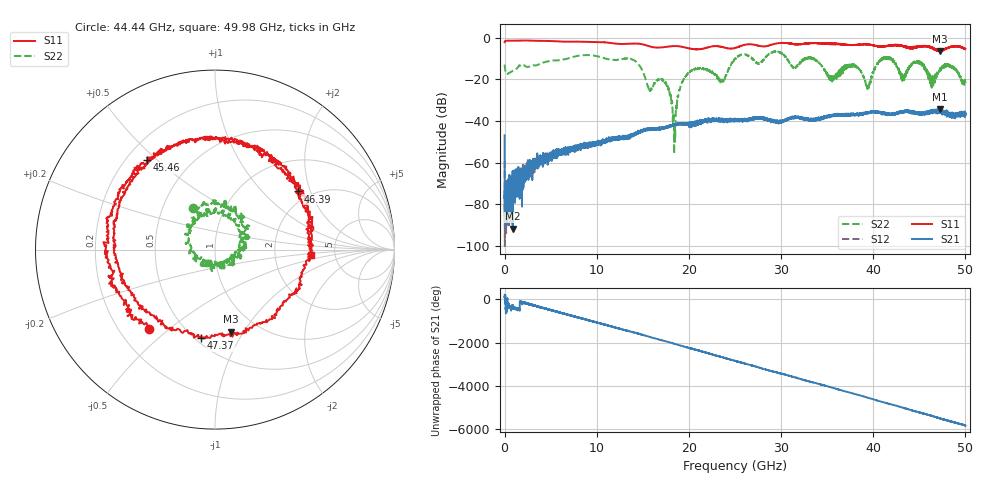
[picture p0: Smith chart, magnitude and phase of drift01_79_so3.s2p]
!Created with skrf (http://scikit-rf.org).
# Hz S RI R 50.0
!freq ReS11 ImS11 ReS21 ImS21 ReS12 ImS12 ReS22 ImS22
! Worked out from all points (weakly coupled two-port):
!   10001 points, 300 kHz to 50 GHz, reference 50 ohm
!   highest |S21| = -34.45 dB at 47.24 GHz (marker M1); lowest = -91.7 dB at 885.3 MHz (marker M2)
!   lowest |S11| = -6.6 dB at 47.24 GHz (marker M3), VSWR 2.75, Z = 37.8 - j44.2 ohm
!   |S11| at or under -10 dB: nowhere
!   |S22| runs from -55.8 to -6.6 dB; largest |S21 - S12| = 0.0042
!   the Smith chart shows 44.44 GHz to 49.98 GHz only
!   S11 on the Smith chart (normalised r, x): 44.44 GHz: 0.32, -0.43; 45.46 GHz: 0.28, +0.47; 46.39 GHz: 1.73, +1.64; 47.37 GHz: 0.53, -0.70; 49.98 GHz: 3.26, -0.28
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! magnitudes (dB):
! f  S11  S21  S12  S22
! 300 kHz  -2.2  -46.9  -59.2  -12.9
! 255.3 MHz  -1.4  -69.3  -80.9  -17.5
! 885.3 MHz  -1.5  -91.7  -69.9  -16.0
! 8.335 GHz  -1.9  -51.1  -52.0  -8.5
! 16.67 GHz  -4.8  -43.8  -43.9  -20.0
! 17.66 GHz  -4.4  -43.0  -42.9  -22.8
! 18.45 GHz  -4.1  -42.0  -41.8  -42.5
! 19.97 GHz  -5.1  -41.6  -41.7  -16.8
! 23.63 GHz  -4.6  -39.9  -39.6  -20.6
! 25 GHz  -5.0  -39.7  -39.8  -10.2
! 33.34 GHz  -2.6  -39.4  -39.5  -10.1
! 38.04 GHz  -3.5  -36.8  -36.7  -13.8
! 39.43 GHz  -3.3  -36.3  -36.1  -23.4
! 41.67 GHz  -3.8  -36.6  -36.8  -10.3
! 43.24 GHz  -4.1  -35.7  -35.5  -18.8
! 44.44 GHz  -4.8  -36.0  -36.3  -11.6
! 45.46 GHz  -4.1  -36.4  -36.4  -13.2
! 46.39 GHz  -5.0  -35.3  -35.1  -21.4
! 47.24 GHz  -6.6  -34.4  -35.2  -15.1
! 47.37 GHz  -6.1  -35.2  -36.1  -15.4
! 49.98 GHz  -5.5  -37.3  -36.3  -21.3
! 50 GHz  -5.4  -36.9  -36.3  -21.8
